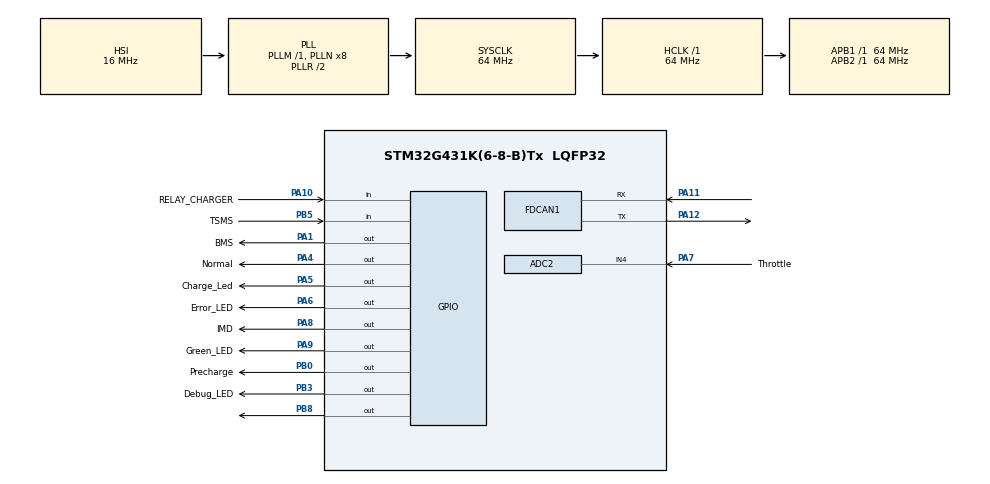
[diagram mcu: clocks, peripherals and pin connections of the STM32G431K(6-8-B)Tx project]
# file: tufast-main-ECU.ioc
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ADC2.Channel-0\#ChannelRegularConversion=ADC_CHANNEL_4
ADC2.ClockPrescaler=ADC_CLOCK_ASYNC_DIV2
ADC2.EOCSelection=ADC_EOC_SEQ_CONV
ADC2.EnableAnalogWatchDog1=false
ADC2.LowPowerAutoWait=ENABLE
ADC2.NbrOfConversion=1
ADC2.NbrOfConversionFlag=1
ADC2.OffsetNumber-0\#ChannelRegularConversion=ADC_OFFSET_NONE
ADC2.Rank-0\#ChannelRegularConversion=1
ADC2.SamplingTime-0\#ChannelRegularConversion=ADC_SAMPLETIME_2CYCLES_5
Dma.ADC2.0.Direction=DMA_PERIPH_TO_MEMORY
Dma.ADC2.0.EventEnable=DISABLE
Dma.ADC2.0.Instance=DMA1_Channel1
Dma.ADC2.0.MemDataAlignment=DMA_MDATAALIGN_HALFWORD
Dma.ADC2.0.MemInc=DMA_MINC_ENABLE
Dma.ADC2.0.Mode=DMA_CIRCULAR
Dma.ADC2.0.PeriphDataAlignment=DMA_PDATAALIGN_HALFWORD
Dma.ADC2.0.PeriphInc=DMA_PINC_DISABLE
Dma.ADC2.0.Polarity=HAL_DMAMUX_REQ_GEN_RISING
Dma.ADC2.0.Priority=DMA_PRIORITY_HIGH
Dma.ADC2.0.RequestNumber=1
Dma.ADC2.0.SignalID=NONE
Dma.ADC2.0.SyncEnable=DISABLE
Dma.ADC2.0.SyncPolarity=HAL_DMAMUX_SYNC_NO_EVENT
Dma.ADC2.0.SyncRequestNumber=1
Dma.ADC2.0.SyncSignalID=NONE
Dma.Request0=ADC2
FDCAN1.CalculateBaudRateNominal=500000
FDCAN1.CalculateTimeBitNominal=2000
FDCAN1.CalculateTimeQuantumNominal=125.0
FDCAN1.FrameFormat=FDCAN_FRAME_CLASSIC
FDCAN1.NominalPrescaler=8
FDCAN1.NominalTimeSeg1=13
FDCAN1.NominalTimeSeg2=2
FREERTOS.Tasks01=defaultTask,-2,128,StartDefaultTask,Default,NULL,Dynamic,NULL,NULL;sendCanTask,-2,128,StartSendCanTask,Default,NULL,Dynamic,NULL,NULL
FREERTOS.Timers01=sendStateDisplay,sendStateDisplayCallback,osTimerPeriodic,Default,NULL,Dynamic,NULL;sendThrottle,sendThrottleCallback,osTimerPeriodic,Default,NULL,Dynamic,NULL;motorStateUpdate,motorStateUpdateCallback,osTimerPeriodic,Default,NULL,Dynamic,NULL;chargeStateTimer,chargeStateTimerCallback,osTimerOnce,Default,NULL,Dynamic,NULL;updateLedCluster,updateLedClusterCallback,osTimerPeriodic,Default,NULL,Dynamic,NULL
FREERTOS.configTOTAL_HEAP_SIZE=10000
FREERTOS.configUSE_TIMERS=1
Mcu.Family=STM32G4
Mcu.Name=STM32G431K(6-8-B)Tx
Mcu.Package=LQFP32
NUCLEO-G431KB.LD2=true
NUCLEO-G431KB.VCP=true
NVIC.ADC1_2_IRQn=true\:5\:0\:false\:false\:true\:true\:true\:true\:true
NVIC.DMA1_Channel1_IRQn=true\:5\:0\:false\:false\:true\:true\:false\:true\:true
NVIC.FDCAN1_IT0_IRQn=true\:5\:0\:false\:false\:true\:true\:true\:true\:true
NVIC.PriorityGroup=NVIC_PRIORITYGROUP_4
NVIC.TIM6_DAC_IRQn=true\:15\:0\:false\:false\:true\:false\:false\:true\:true
NVIC.TimeBase=TIM6_DAC_IRQn
NVIC.TimeBaseIP=TIM6
PA1.GPIO_Label=BMS
PA1.Signal=GPIO_Output
PA10.GPIO_Label=RELAY_CHARGER
PA10.GPIO_PuPd=GPIO_PULLDOWN
PA10.Signal=GPIO_Input
PA11.Mode=FDCAN_Activate
PA11.Signal=FDCAN1_RX
PA12.Mode=FDCAN_Activate
PA12.Signal=FDCAN1_TX
PA2.Signal=USART2_TX
PA3.Signal=USART2_RX
PA4.GPIO_Label=Normal
PA4.Signal=GPIO_Output
PA5.GPIO_Label=Charge_Led
PA5.Signal=GPIO_Output
PA6.GPIO_Label=Error_LED
PA6.Signal=GPIO_Output
PA7.GPIO_Label=Throttle
PA7.Mode=IN4-Single-Ended
PA7.Signal=ADC2_IN4
PA8.GPIO_Label=IMD
PA8.Signal=GPIO_Output
PA9.GPIO_Label=Green_LED
PA9.Signal=GPIO_Output
PB0.GPIO_Label=Precharge
PB0.Signal=GPIO_Output
PB3.GPIO_Label=Debug_LED
PB3.Signal=GPIO_Output
PB5.GPIO_Label=TSMS
PB5.GPIO_PuPd=GPIO_PULLDOWN
PB5.Signal=GPIO_Input
PB8-BOOT0.Signal=GPIO_Output
ProjectManager.HeapSize=0x200
ProjectManager.StackSize=0x400
ProjectManager.TargetToolchain=STM32CubeIDE
RCC.ADC12CLockSelection=RCC_ADC12CLKSOURCE_PLL
RCC.ADC12Freq_Value=16000000
RCC.AHBFreq_Value=64000000
RCC.APB1Freq_Value=64000000
RCC.APB1TimFreq_Value=64000000
RCC.APB2Freq_Value=64000000
RCC.APB2TimFreq_Value=64000000
RCC.CortexFreq_Value=64000000
RCC.EXTERNAL_CLOCK_VALUE=12288000
RCC.HCLKFreq_Value=64000000
RCC.HSE_VALUE=8000000
RCC.HSI48_VALUE=48000000
RCC.HSI_VALUE=16000000
RCC.LSE_VALUE=32768
RCC.PLLP=RCC_PLLP_DIV8
RCC.SYSCLKFreq_VALUE=64000000
RCC.SYSCLKSource=RCC_SYSCLKSOURCE_PLLCLK
RCC.USBFreq_Value=64000000
RCC.VCOOutputFreq_Value=128000000
VP_FREERTOS_VS_CMSIS_V1.Mode=CMSIS_V1
VP_NUCLEO-G431KB_VS_BSP_COMMON.Mode=COMMON
VP_SYS_VS_DBSignals.Mode=DisableDeadBatterySignals
VP_SYS_VS_tim6.Mode=TIM6
board=NUCLEO-G431KB

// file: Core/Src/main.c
/* USER CODE BEGIN Header */
/**
 ******************************************************************************
 * @file           : main.c
 * @brief          : Main program body
 ******************************************************************************
 * @attention
 *
 * Copyright (c) 2025 STMicroelectronics.
 * All rights reserved.
 *
 * This software is licensed under terms that can be found in the LICENSE file
 * in the root directory of this software component.
 * If no LICENSE file comes with this software, it is provided AS-IS.
 *
 ******************************************************************************
 */
/* USER CODE END Header */
#include "main.h"
#include "cmsis_os.h"

COM_InitTypeDef BspCOMInit;

ADC_HandleTypeDef hadc2;
DMA_HandleTypeDef hdma_adc2;

FDCAN_HandleTypeDef hfdcan1;

osThreadId defaultTaskHandle;
osThreadId sendCanTaskHandle;
osTimerId sendStateDisplayHandle;
osTimerId sendThrottleHandle;
osTimerId motorStateUpdateHandle;
osTimerId chargeStateTimerHandle;
osTimerId updateLedClusterHandle;
/* USER CODE BEGIN PV */
// Race state
struct RaceState race_state;
enum MotoState moto_state = STATE_CHARGE;
struct ChargerCommState charger_comm_state;
enum BMSCommState bms_comm_state = BMS_SLEEP;
enum MotoCharge moto_charge = STATE_PRECHARGE;
uint8_t button_moto = 0;  // 0b0000XYZT - X: ESDB_one, Y: ESDB_two, Z: TSMS, T: LVMS

FDCAN_ProtocolStatusTypeDef ps;
FDCAN_ErrorCountersTypeDef ec;

// Sensors
struct Throttle throttle_sensor;
struct battery bat;
BMSMaxMinInfo bms_max_min_info;
struct BMSErrorState bms_error_state;
struct BMSChargerState bms_charger_state;

uint32_t inverter_counter = 0;
// CAN
FDCAN_TxHeaderTypeDef tx_header;
can_message_eight tx_data;
can_message_four tx_data_four;
can_message_eight inverter_on_msg = { .int_val = 0x0000000000000001 };
can_message_eight inverter_reset = { .int_val = 0x0000000000000002 };

can_message_eight inverter_on_msg2 = { .int_val = 0x0000000000000000 };
// 0x0101010101010101

FDCAN_RxHeaderTypeDef rx_header;
can_message_eight rx_data;

can_message_eight button_data_test;

// ADC
__IO uint8_t adc_complete_flag = 0;
uint16_t raw_adc_value;

// Mail queue
osMailQDef(can_msg_queue, 128, struct can_message_mail_obj);
osMailQId (can_msg_queue_id);
/* USER CODE END PV */

void SystemClock_Config(void);
static void MX_GPIO_Init(void);
static void MX_DMA_Init(void);
static void MX_ADC2_Init(void);
static void MX_FDCAN1_Init(void);
void StartDefaultTask(void const* argument);
void StartSendCanTask(void const* argument);
void sendStateDisplayCallback(void const* argument);
void sendThrottleCallback(void const* argument);
void motorStateUpdateCallback(void const* argument);
void chargeStateTimerCallback(void const* argument);
void updateLedClusterCallback(void const* argument);

/* USER CODE BEGIN 0 */
void HAL_FDCAN_RxFifo0Callback(FDCAN_HandleTypeDef* hfdcan, uint32_t RxFifo0ITs) {
    if ((RxFifo0ITs & FDCAN_IT_RX_FIFO0_NEW_MESSAGE) != RESET) {
        // Retrieve Rx messages from RX FIFO0
        if (HAL_FDCAN_GetRxMessage(hfdcan, FDCAN_RX_FIFO0, &rx_header, rx_data.bytes) != HAL_OK) {
            // Reception Error
            Error_Handler();
        } else {
            // No error, process received payload
            switch (rx_header.Identifier) {
                // Inverter
                case 0x181:
                    break;
                case 0x281:
                    break;
                case 0x381:
                    break;
                case 0x481:
                    break;
                    // Display
                case 0x191:
                    // Read which button was pressed
                    button_data_test.int_val = rx_data.int_val;
                    handle_button_press(&race_state, rx_data.bytes[0]);  // we pass the adress of race_state
                    break;
                case 0x241:  // TODO: Refactor this ChatGPT ahh code
                    // rx_data.bytes[] contains: [HB][LB] [HB][LB] [HB][LB] [HB][LB]

                    bms_max_min_info.max_battery_voltage =
                            ((uint16_t) rx_data.bytes[0] << 8) | rx_data.bytes[1];

                    bms_max_min_info.max_battery_charge_current =
                            ((uint16_t) rx_data.bytes[2] << 8) | rx_data.bytes[3];

                    bms_max_min_info.min_battery_voltage =
                            ((uint16_t) rx_data.bytes[4] << 8) | rx_data.bytes[5];

                    bms_max_min_info.max_battery_discharge_current =
                            ((uint16_t) rx_data.bytes[6] << 8) | rx_data.bytes[7];

                    // apply scale factor 0.1 (divide by 10)
                    bms_max_min_info.max_battery_voltage /= 10;
                    bms_max_min_info.max_battery_charge_current /= 10;
                    bms_max_min_info.min_battery_voltage /= 10;
                    bms_max_min_info.max_battery_discharge_current /= 10;

                    break;
                case 0x341: // BMS
                    for (int i = 0; i < 8; i++)
                        bat.raw[i] = rx_data.bytes[i];
                    convert_BMS_CAN(bat.raw, &bat);
                    break;
                case 0x441:  // BMS error code
//                    big_to_little_endian_inplace(&rx_data);
                    bms_error_state.stop_charge_flag = rx_data.bytes[1];
                    bms_error_state.stop_discharge_flag = rx_data.bytes[2];
                    bms_error_state.primary_bmu_failure_status = rx_data.bytes[3];
                    break;
                    // TODO: BMS - Sending messages to inverter and charger after receiving from BMS
                case 0x510:
                    // Byte 0-1: Charge Current Limit
                    bms_charger_state.charge_current_limit = ((uint16_t) rx_data.bytes[0] << 8) | rx_data.bytes[1];
                    // Byte 2-3: Discharge Current Limit
                    bms_charger_state.discharge_current_limit = ((uint16_t) rx_data.bytes[2] << 8) | rx_data.bytes[3];

                    // Byte 4: Flags (Stop Charge / Error)
                    bms_charger_state.bmu_status_flag = rx_data.bytes[4];

                    // Byte 5: Fully Charged
                    bms_charger_state.fully_charged_flag = rx_data.bytes[5];

                    // Byte 6: Charge/Discharge Control State
                    bms_charger_state.charge_control_state = rx_data.bytes[6];

                    // --- LOGIC: Check Flags ---
                    // Assuming "1" means Error/Stop. Adjust bitmasks if specific bits are used.
                    if (bms_charger_state.bmu_status_flag & 0x11 == 3) {
                        HAL_GPIO_WritePin(BMS_GPIO_Port, BMS_Pin, GPIO_PIN_RESET);
                    } else {  // No failure
                        HAL_GPIO_WritePin(BMS_GPIO_Port, BMS_Pin, GPIO_PIN_SET);
                    }
                    break;
                case 0x520:
                    // Byte 0-1: Charge Voltage Setpoint (Send to Charger!)
                    bms_charger_state.charge_voltage_setpoint = ((uint16_t) rx_data.bytes[0] << 8) | rx_data.bytes[1];

                    // Byte 2-3: Discharge Voltage Setpoint (Send to Inverter)
                    bms_charger_state.discharge_voltage_setpoint = ((uint16_t) rx_data.bytes[2] << 8)
                            | rx_data.bytes[3];

                    // Byte 4-5: Charge Current Setpoint (Send to Charger!)
                    bms_charger_state.charge_current_setpoint = ((uint16_t) rx_data.bytes[4] << 8) | rx_data.bytes[5];

                    // Byte 6-7: Discharge Current Setpoint (Send to Inverter)
                    bms_charger_state.discharge_current_setpoint = ((uint16_t) rx_data.bytes[6] << 8)
                            | rx_data.bytes[7];

                    break;
                case 0x530:
                    // "If any of these errors at any of the 8 bytes = 1 open relay"
                    if (rx_data.int_val != 0) {
                        bms_charger_state.is_bms_error = 1;
                        HAL_GPIO_WritePin(BMS_GPIO_Port, BMS_Pin, GPIO_PIN_RESET);
                    } else {
                        HAL_GPIO_WritePin(BMS_GPIO_Port, BMS_Pin, GPIO_PIN_SET);
                    }
                    break;
                case 0x540:
                    bms_charger_state.pack_current = ((uint16_t) rx_data.bytes[0] << 8) | rx_data.bytes[1];
                    break;
                case 0x560:
                    bms_charger_state.pack_voltage = ((uint16_t) rx_data.bytes[0] << 8) | rx_data.bytes[1];
                    break;
                case 0x5C0:
                    // TODO
                    break;
            }
        }

        // Reactive receive notifications
        if (HAL_FDCAN_ActivateNotification(hfdcan, FDCAN_IT_RX_FIFO0_NEW_MESSAGE, 0) != HAL_OK) {
            Error_Handler();
        }
    }
}

// ADC functions
void HAL_ADC_ConvCpltCallback(ADC_HandleTypeDef* hadc) {
    adc_complete_flag = 1;
}

/* USER CODE END 0 */

int main(void)
{

    /* MCU Configuration--------------------------------------------------------*/

    /* Reset of all peripherals, Initializes the Flash interface and the Systick. */
    HAL_Init();

    /* Configure the system clock */
    SystemClock_Config();

    /* Initialize all configured peripherals */
    MX_GPIO_Init();
    MX_DMA_Init();
    MX_ADC2_Init();
    MX_FDCAN1_Init();
    /* USER CODE BEGIN 2 */
    // Start ADC2
    HAL_ADC_Start_DMA(&hadc2, (uint32_t*) &raw_adc_value, 1);

    // Start FDCAN1 and activate receive notifications
    if (HAL_FDCAN_Start(&hfdcan1) != HAL_OK) {
        Error_Handler();
    }
    if (HAL_FDCAN_ActivateNotification(&hfdcan1, FDCAN_IT_RX_FIFO0_NEW_MESSAGE, 0) != HAL_OK) {
        Error_Handler();
    }

    // Init structs
    race_state_init(&race_state);
    throttle_init(&throttle_sensor);
    charger_comms_init(&charger_comm_state);

    // Turn on the inverter
//    send_turn_on_inverter(&tx_header, &hfdcan1);  // TODO: Remove if unused

    // Close the precharge relay (initial state is precharge)
    HAL_GPIO_WritePin(Precharge_GPIO_Port, Precharge_Pin, GPIO_PIN_SET);

    // Close the BMS relay at start
    HAL_GPIO_WritePin(BMS_GPIO_Port, BMS_Pin, GPIO_PIN_SET);

    /* USER CODE END 2 */

    /* Create the timer(s) */
    /* definition and creation of sendStateDisplay */
    osTimerDef(sendStateDisplay, sendStateDisplayCallback);
    sendStateDisplayHandle = osTimerCreate(osTimer(sendStateDisplay), osTimerPeriodic, NULL);

    /* definition and creation of sendThrottle */
    osTimerDef(sendThrottle, sendThrottleCallback);
    sendThrottleHandle = osTimerCreate(osTimer(sendThrottle), osTimerPeriodic, NULL);

    /* definition and creation of motorStateUpdate */
    osTimerDef(motorStateUpdate, motorStateUpdateCallback);
    motorStateUpdateHandle = osTimerCreate(osTimer(motorStateUpdate), osTimerPeriodic, NULL);

    /* definition and creation of chargeStateTimer */
    osTimerDef(chargeStateTimer, chargeStateTimerCallback);
    chargeStateTimerHandle = osTimerCreate(osTimer(chargeStateTimer), osTimerOnce, NULL);

    /* definition and creation of updateLedCluster */
    osTimerDef(updateLedCluster, updateLedClusterCallback);
    updateLedClusterHandle = osTimerCreate(osTimer(updateLedCluster), osTimerPeriodic, NULL);

    /* USER CODE BEGIN RTOS_TIMERS */
    /* start timers, add new ones, ... */
    osTimerStart(sendStateDisplayHandle, 100);  // change back to 50 if we have problems
    osTimerStart(sendThrottleHandle, 50);  // 20 Hz - matches the refresh rate of the display
    osTimerStart(updateLedClusterHandle, 1000);
    osTimerStart(motorStateUpdateHandle, 100);
    osTimerStart(chargeStateTimerHandle, 5000);  // wait for 5s, one-shot timer
    /* USER CODE END RTOS_TIMERS */

    /* USER CODE BEGIN RTOS_QUEUES */
    /* add queues, ... */
    can_msg_queue_id = osMailCreate(osMailQ(can_msg_queue), NULL);
    /* USER CODE END RTOS_QUEUES */

    /* Create the thread(s) */
    /* definition and creation of defaultTask */
    osThreadDef(defaultTask, StartDefaultTask, osPriorityLow, 0, 128);
    defaultTaskHandle = osThreadCreate(osThread(defaultTask), NULL);

    /* definition and creation of sendCanTask */
    osThreadDef(sendCanTask, StartSendCanTask, osPriorityLow, 0, 128);
    sendCanTaskHandle = osThreadCreate(osThread(sendCanTask), NULL);

    /* Initialize leds */
    BSP_LED_Init(LED_GREEN);

    /* Initialize COM1 port (115200, 8 bits (7-bit data + 1 stop bit), no parity */
    BspCOMInit.BaudRate = 115200;
    BspCOMInit.WordLength = COM_WORDLENGTH_8B;
    BspCOMInit.StopBits = COM_STOPBITS_1;
    BspCOMInit.Parity = COM_PARITY_NONE;
    BspCOMInit.HwFlowCtl = COM_HWCONTROL_NONE;
    if (BSP_COM_Init(COM1, &BspCOMInit) != BSP_ERROR_NONE)
    {
        Error_Handler();
    }

    /* Start scheduler */
    osKernelStart();

    /* We should never get here as control is now taken by the scheduler */

    /* Infinite loop */
    while (1) {

    }
}

void SystemClock_Config(void)
{
    RCC_OscInitTypeDef RCC_OscInitStruct = { 0 };
    RCC_ClkInitTypeDef RCC_ClkInitStruct = { 0 };

    /** Configure the main internal regulator output voltage
     */
    HAL_PWREx_ControlVoltageScaling(PWR_REGULATOR_VOLTAGE_SCALE1);

    /** Initializes the RCC Oscillators according to the specified parameters
     * in the RCC_OscInitTypeDef structure.
     */
    RCC_OscInitStruct.OscillatorType = RCC_OSCILLATORTYPE_HSI;
    RCC_OscInitStruct.HSIState = RCC_HSI_ON;
    RCC_OscInitStruct.HSICalibrationValue = RCC_HSICALIBRATION_DEFAULT;
    RCC_OscInitStruct.PLL.PLLState = RCC_PLL_ON;
    RCC_OscInitStruct.PLL.PLLSource = RCC_PLLSOURCE_HSI;
    RCC_OscInitStruct.PLL.PLLM = RCC_PLLM_DIV1;
    RCC_OscInitStruct.PLL.PLLN = 8;
    RCC_OscInitStruct.PLL.PLLP = RCC_PLLP_DIV8;
    RCC_OscInitStruct.PLL.PLLQ = RCC_PLLQ_DIV2;
    RCC_OscInitStruct.PLL.PLLR = RCC_PLLR_DIV2;
    if (HAL_RCC_OscConfig(&RCC_OscInitStruct) != HAL_OK)
            {
        Error_Handler();
    }

    /** Initializes the CPU, AHB and APB buses clocks
     */
    RCC_ClkInitStruct.ClockType = RCC_CLOCKTYPE_HCLK | RCC_CLOCKTYPE_SYSCLK
            | RCC_CLOCKTYPE_PCLK1 | RCC_CLOCKTYPE_PCLK2;
    RCC_ClkInitStruct.SYSCLKSource = RCC_SYSCLKSOURCE_PLLCLK;
    RCC_ClkInitStruct.AHBCLKDivider = RCC_SYSCLK_DIV1;
    RCC_ClkInitStruct.APB1CLKDivider = RCC_HCLK_DIV1;
    RCC_ClkInitStruct.APB2CLKDivider = RCC_HCLK_DIV1;

    if (HAL_RCC_ClockConfig(&RCC_ClkInitStruct, FLASH_LATENCY_2) != HAL_OK)
            {
        Error_Handler();
    }
}

static void MX_ADC2_Init(void)
{

    ADC_ChannelConfTypeDef sConfig = { 0 };

    /** Common config
     */
    hadc2.Instance = ADC2;
    hadc2.Init.ClockPrescaler = ADC_CLOCK_ASYNC_DIV2;
    hadc2.Init.Resolution = ADC_RESOLUTION_12B;
    hadc2.Init.DataAlign = ADC_DATAALIGN_RIGHT;
    hadc2.Init.GainCompensation = 0;
    hadc2.Init.ScanConvMode = ADC_SCAN_DISABLE;
    hadc2.Init.EOCSelection = ADC_EOC_SEQ_CONV;
    hadc2.Init.LowPowerAutoWait = ENABLE;
    hadc2.Init.ContinuousConvMode = DISABLE;
    hadc2.Init.NbrOfConversion = 1;
    hadc2.Init.DiscontinuousConvMode = DISABLE;
    hadc2.Init.ExternalTrigConv = ADC_SOFTWARE_START;
    hadc2.Init.ExternalTrigConvEdge = ADC_EXTERNALTRIGCONVEDGE_NONE;
    hadc2.Init.DMAContinuousRequests = DISABLE;
    hadc2.Init.Overrun = ADC_OVR_DATA_PRESERVED;
    hadc2.Init.OversamplingMode = DISABLE;
    if (HAL_ADC_Init(&hadc2) != HAL_OK)
            {
        Error_Handler();
    }

    /** Configure Regular Channel
     */
    sConfig.Channel = ADC_CHANNEL_4;
    sConfig.Rank = ADC_REGULAR_RANK_1;
    sConfig.SamplingTime = ADC_SAMPLETIME_2CYCLES_5;
    sConfig.SingleDiff = ADC_SINGLE_ENDED;
    sConfig.OffsetNumber = ADC_OFFSET_NONE;
    sConfig.Offset = 0;
    if (HAL_ADC_ConfigChannel(&hadc2, &sConfig) != HAL_OK)
            {
        Error_Handler();
    }

}

static void MX_FDCAN1_Init(void)
{

    hfdcan1.Instance = FDCAN1;
    hfdcan1.Init.ClockDivider = FDCAN_CLOCK_DIV1;
    hfdcan1.Init.FrameFormat = FDCAN_FRAME_CLASSIC;
    hfdcan1.Init.Mode = FDCAN_MODE_NORMAL;
    hfdcan1.Init.AutoRetransmission = DISABLE;
    hfdcan1.Init.TransmitPause = DISABLE;
    hfdcan1.Init.ProtocolException = DISABLE;
    hfdcan1.Init.NominalPrescaler = 8;
    hfdcan1.Init.NominalSyncJumpWidth = 1;
    hfdcan1.Init.NominalTimeSeg1 = 13;
    hfdcan1.Init.NominalTimeSeg2 = 2;
    hfdcan1.Init.DataPrescaler = 1;
    hfdcan1.Init.DataSyncJumpWidth = 1;
    hfdcan1.Init.DataTimeSeg1 = 1;
    hfdcan1.Init.DataTimeSeg2 = 1;
    hfdcan1.Init.StdFiltersNbr = 0;
    hfdcan1.Init.ExtFiltersNbr = 0;
    hfdcan1.Init.TxFifoQueueMode = FDCAN_TX_FIFO_OPERATION;
    if (HAL_FDCAN_Init(&hfdcan1) != HAL_OK)
            {
        Error_Handler();
    }
    /* USER CODE BEGIN FDCAN1_Init 2 */
    tx_header.Identifier = 0x301;  // no need to init address yet
    tx_header.IdType = FDCAN_STANDARD_ID;
    tx_header.TxFrameType = FDCAN_DATA_FRAME;
    tx_header.DataLength = FDCAN_DLC_BYTES_8;
    tx_header.ErrorStateIndicator = FDCAN_ESI_ACTIVE;
    tx_header.BitRateSwitch = FDCAN_BRS_OFF;
    tx_header.FDFormat = FDCAN_CLASSIC_CAN;
    tx_header.TxEventFifoControl = FDCAN_NO_TX_EVENTS;
    tx_header.MessageMarker = 0;
    /* USER CODE END FDCAN1_Init 2 */

}

static void MX_DMA_Init(void)
{

    /* DMA controller clock enable */
    __HAL_RCC_DMAMUX1_CLK_ENABLE();
    __HAL_RCC_DMA1_CLK_ENABLE();

    /* DMA interrupt init */
    /* DMA1_Channel1_IRQn interrupt configuration */
    HAL_NVIC_SetPriority(DMA1_Channel1_IRQn, 5, 0);
    HAL_NVIC_EnableIRQ(DMA1_Channel1_IRQn);

}

static void MX_GPIO_Init(void)
{
    GPIO_InitTypeDef GPIO_InitStruct = { 0 };

    /* GPIO Ports Clock Enable */
    __HAL_RCC_GPIOA_CLK_ENABLE();
    __HAL_RCC_GPIOB_CLK_ENABLE();

    /*Configure GPIO pin Output Level */
    HAL_GPIO_WritePin(GPIOA, BMS_Pin | Normal_Pin | Charge_Led_Pin | Error_LED_Pin
            | IMD_Pin | Green_LED_Pin, GPIO_PIN_RESET);

    /*Configure GPIO pin Output Level */
    HAL_GPIO_WritePin(GPIOB, Precharge_Pin | Debug_LED_Pin, GPIO_PIN_RESET);

    /*Configure GPIO pins : BMS_Pin Normal_Pin Charge_Led_Pin Error_LED_Pin
     IMD_Pin Green_LED_Pin */
    GPIO_InitStruct.Pin = BMS_Pin | Normal_Pin | Charge_Led_Pin | Error_LED_Pin
            | IMD_Pin | Green_LED_Pin;
    GPIO_InitStruct.Mode = GPIO_MODE_OUTPUT_PP;
    GPIO_InitStruct.Pull = GPIO_NOPULL;
    GPIO_InitStruct.Speed = GPIO_SPEED_FREQ_LOW;
    HAL_GPIO_Init(GPIOA, &GPIO_InitStruct);

    /*Configure GPIO pins : Precharge_Pin Debug_LED_Pin */
    GPIO_InitStruct.Pin = Precharge_Pin | Debug_LED_Pin;
    GPIO_InitStruct.Mode = GPIO_MODE_OUTPUT_PP;
    GPIO_InitStruct.Pull = GPIO_NOPULL;
    GPIO_InitStruct.Speed = GPIO_SPEED_FREQ_LOW;
    HAL_GPIO_Init(GPIOB, &GPIO_InitStruct);

    /*Configure GPIO pin : RELAY_CHARGER_Pin */
    GPIO_InitStruct.Pin = RELAY_CHARGER_Pin;
    GPIO_InitStruct.Mode = GPIO_MODE_INPUT;
    GPIO_InitStruct.Pull = GPIO_PULLDOWN;
    HAL_GPIO_Init(RELAY_CHARGER_GPIO_Port, &GPIO_InitStruct);

    /*Configure GPIO pin : TSMS_Pin */
    GPIO_InitStruct.Pin = TSMS_Pin;
    GPIO_InitStruct.Mode = GPIO_MODE_INPUT;
    GPIO_InitStruct.Pull = GPIO_PULLDOWN;
    HAL_GPIO_Init(TSMS_GPIO_Port, &GPIO_InitStruct);

}

/* USER CODE BEGIN 4 */
void add_can_msg_to_queue(uint32_t address, can_message_eight* msg) {
    // Add msg to queue
    struct can_message_mail_obj* mail_to_add;
    mail_to_add = (struct can_message_mail_obj*) osMailAlloc(can_msg_queue_id, osWaitForever);

    if (mail_to_add != NULL) {
        mail_to_add->data.int_val = msg->int_val;
        mail_to_add->id = address;
        mail_to_add->length = FDCAN_DLC_BYTES_8;

        osMailPut(can_msg_queue_id, mail_to_add);
    }
}
/* USER CODE END 4 */

void StartDefaultTask(void const* argument)
{
    /* USER CODE BEGIN 5 */
    /* Infinite loop */
    for (;;) {
        // Check ADC
        if (adc_complete_flag) {
            // Get throttle
            convert_adc_throttle(&throttle_sensor, raw_adc_value);

            // Reset ADC input
            adc_complete_flag = 0;
            HAL_ADC_Start_DMA(&hadc2, (uint32_t*) &raw_adc_value, 1);
        } else {
            osThreadYield();
        }
//        osDelay(1);  // TODO: Uncomment if we have problems with CAN/throttle
    }
    /* USER CODE END 5 */
}

void StartSendCanTask(void const* argument)
{
    /* USER CODE BEGIN StartSendCanTask */
    /* Infinite loop */
    for (;;) {
        // Send CAN msg if we can
        if (HAL_FDCAN_GetTxFifoFreeLevel(&hfdcan1) > 0) {
            osEvent event = osMailGet(can_msg_queue_id, osWaitForever);
            struct can_message_mail_obj* received = (struct can_message_mail_obj*) event.value.p;

            // Update ID of the transmit header
            tx_header.Identifier = received->id;

            if (HAL_FDCAN_AddMessageToTxFifoQ(&hfdcan1, &tx_header, received->data.bytes) != HAL_OK) {
                Error_Handler();
            }

            osMailFree(can_msg_queue_id, received);
        } else {
            osThreadYield();
        }
//        osDelay(1);  // TODO: Uncomment if we have problems with CAN/throttle
    }
    /* USER CODE END StartSendCanTask */
}

/* sendStateDisplayCallback function */
void sendStateDisplayCallback(void const* argument)
{
    /* USER CODE BEGIN sendStateDisplayCallback */
    // Write state data to TX data
    tx_data.int_val = 0;

    tx_data.bytes[0] = race_state.race_mode;
    tx_data.bytes[1] = race_state.rain_state;
    tx_data.bytes[2] = moto_state;
    tx_data.bytes[3] = moto_charge;
    tx_data.bytes[4] = charger_comm_state.state;
    tx_data.bytes[5] = bms_comm_state;
    tx_data.bytes[6] = button_moto;
    tx_data.bytes[7] = bat.soc;

    // Send the message
    add_can_msg_to_queue(0x202, &tx_data);
    /* USER CODE END sendStateDisplayCallback */
}

/* sendThrottleCallback function */
void sendThrottleCallback(void const* argument)
{
    /* USER CODE BEGIN sendThrottleCallback */
    tx_data.int_val = 0;  // zero bytes
    convert_float_display(
            &throttle_sensor.throttle_value,
            &tx_data.second,
            DECIMAL_POINT_2
            );
    add_can_msg_to_queue(0x102, &tx_data);

    // Send throttle value to inverter
    tx_data.int_val = 0;  // zero bytes
    // Check for safe throttle (and RPM) values
    if (throttle_sensor.throttle_value.float_val <= 100.0f) {
        // tx_data.first - torque reference
        // tx_data.second - velocity reference
        tx_data.first.float_val = throttle_sensor.throttle_value.float_val / 10.0f;
        tx_data.second.float_val = throttle_sensor.throttle_value.float_val * 7.0f;
        add_can_msg_to_queue(0x301, &tx_data);

        if (inverter_counter > 10) {
            add_can_msg_to_queue(0x201, &inverter_on_msg);
        } else {
            add_can_msg_to_queue(0x201, &inverter_reset);
        }
        inverter_counter++;

        // add_can_msg_to_queue(0x501, &tx_data);  // TODO: What's this?
    }
    /* USER CODE END sendThrottleCallback */
}

/* motorStateUpdateCallback function */
void motorStateUpdateCallback(void const* argument)
{
    /* USER CODE BEGIN motorStateUpdateCallback */
    // Check the state of relays and update motorcycle state
    readRelay(&moto_state);

    // If we are in charge mode, send msg to charger
    if (moto_state == STATE_CHARGE) {
        handle_charger_CAN(&tx_data, &tx_header, &charger_comm_state, &hfdcan1);
    }

    // Flash rearlight based on motorcycle and rain state
    if (race_state.rain_state == STATE_RAIN) {
        HAL_GPIO_TogglePin(GPIOB, GPIO_PIN_3);
    } else if (race_state.race_mode == MODE_RACE) {
        HAL_GPIO_WritePin(GPIOB, GPIO_PIN_3, GPIO_PIN_SET);
    } else {
        HAL_GPIO_WritePin(GPIOB, GPIO_PIN_3, GPIO_PIN_RESET);
    }
    /* USER CODE END motorStateUpdateCallback */
}

/* chargeStateTimerCallback function */
void chargeStateTimerCallback(void const* argument)
{
    /* USER CODE BEGIN chargeStateTimerCallback */
    moto_charge = STATE_NORMAL;
    // Turn off precharge and close relay
    HAL_GPIO_WritePin(Precharge_GPIO_Port, Precharge_Pin, GPIO_PIN_RESET);
    HAL_GPIO_WritePin(Normal_GPIO_Port, Normal_Pin, GPIO_PIN_SET);
    /* USER CODE END chargeStateTimerCallback */
}

/* updateLedClusterCallback function */
void updateLedClusterCallback(void const* argument)
{
    /* USER CODE BEGIN updateLedClusterCallback */
    // Flash the LEDs based on motorcycle state
    update_led_cluster(moto_state);
    /* USER CODE END updateLedClusterCallback */
}

void HAL_TIM_PeriodElapsedCallback(TIM_HandleTypeDef* htim)
{
    if (htim->Instance == TIM6)
    {
        HAL_IncTick();
    }
}
/* USER CODE BEGIN Header */
/**
 ******************************************************************************
 * @file           : main.c
 * @brief          : Main program body
 ******************************************************************************
 * @attention
 *
 * Copyright (c) 2025 STMicroelectronics.
 * All rights reserved.
 *
 * This software is licensed under terms that can be found in the LICENSE file
 * in the root directory of this software component.
 * If no LICENSE file comes with this software, it is provided AS-IS.
 *
 ******************************************************************************
 */
/* USER CODE END Header */

void Error_Handler(void)
{
    /* USER CODE BEGIN Error_Handler_Debug */
    /* User can add his own implementation to report the HAL error return state */
    __disable_irq();
    while (1) {
    }  // error Handler
    /* USER CODE END Error_Handler_Debug */
}
